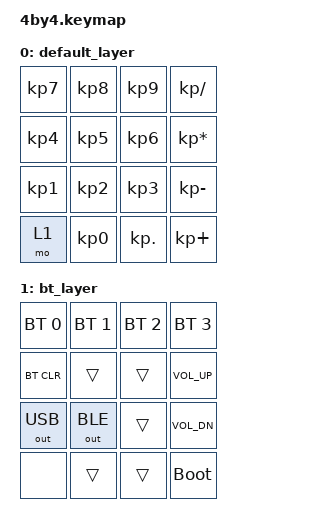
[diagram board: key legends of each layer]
/*
 * Copyright (c) 2020 The ZMK Contributors
 *
 * SPDX-License-Identifier: MIT
 */

#include <behaviors.dtsi>
#include <dt-bindings/zmk/keys.h>
#include <dt-bindings/zmk/bt.h>
#include <dt-bindings/zmk/outputs.h>

#define DEFAULT 0
#define BT   1

/ {
    keymap {
        compatible = "zmk,keymap";

        default_layer {
// ------------------------------------------------
// |   7   |    8    |    9    |    /    |
// |   4   |    5    |    6    |    *    |
// |   1   |    2    |    3    |    -    |
// |   BT  |    0    |    .    |    +    |
           
            bindings = <
            &kp KP_N7     &kp KP_N8     &kp KP_N9     &kp KP_DIVIDE
            &kp KP_N4     &kp KP_N5     &kp KP_N6     &kp KP_MULTIPLY
            &kp KP_N1     &kp KP_N2     &kp KP_N3     &kp KP_MINUS
            &mo 1         &kp KP_N0     &kp KP_DOT    &kp KP_PLUS
            >;
            };

            bt_layer {
// ------------------------------------------------
// |   BT 1  |   BT 2   |  BT 3   |  BT 4   |
// |  BT RST |          |         | vol up  |
// |   USB   |   BLE    |         | vol dn  |
// |         |          |         |   RST   |

            bindings = <
            &bt BT_SEL 0   &bt BT_SEL 1   &bt BT_SEL 2   &bt BT_SEL 3
            &bt BT_CLR     &trans         &trans         &kp C_VOL_UP
            &out OUT_USB   &out OUT_BLE   &trans         &kp C_VOL_DN
            &none          &trans         &trans         &bootloader
            >;
         };
    };
};
